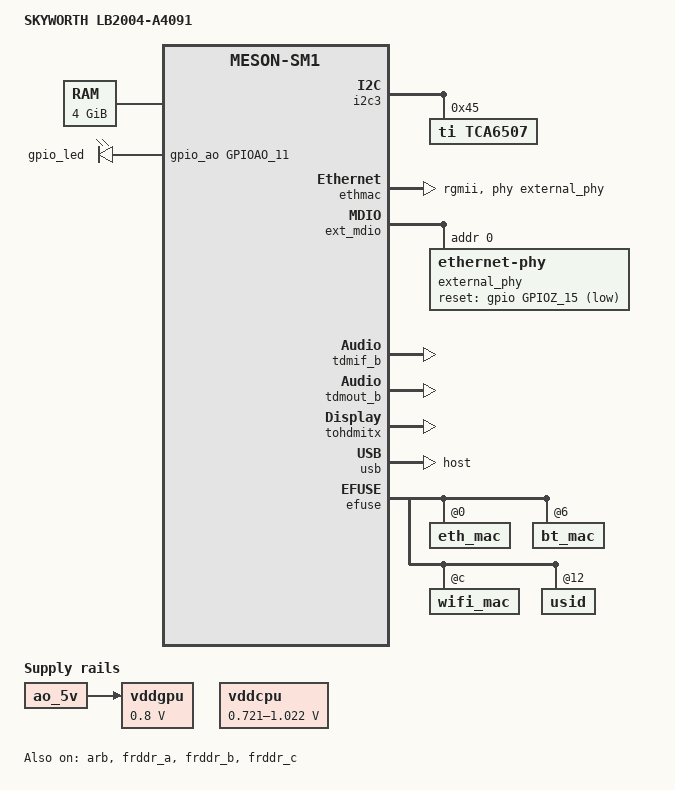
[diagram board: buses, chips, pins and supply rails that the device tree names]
// SPDX-License-Identifier: (GPL-2.0+ OR MIT)
/*
 * Copyright (c) 2019 BayLibre SAS. All rights reserved.
 * Copyright (c) 2020 Christian Hewitt <christianshewitt@gmail.com>
 * Copyright (c) 2021 flippy <uniqfreq@gmail.com>
 */

/dts-v1/;

#include "meson-sm1-ac2xx.dtsi"
#include <dt-bindings/leds/common.h>
#include <dt-bindings/sound/meson-g12a-tohdmitx.h>

/ {
	compatible = "skyworth,lb2004", "amlogic,s905x3", "amlogic,sm1";
	model = "SKYWORTH LB2004-A4091";

	memory@0 {
		device_type = "memory";
		reg = <0x0 0x0 0x0 0xFFFFFFFF>;
	};

	leds {
		compatible = "gpio-leds";

		/* Mainline u-boot lacks TCA6507 driver. Currently only using bootloader, TCA6507 LEDs works. */
		gpio_led {
			label = "gpio_led";
			gpios = <&gpio_ao GPIOAO_11 GPIO_ACTIVE_HIGH>;
			linux,default-trigger = "default-on";
		};
	};

	sound {
		compatible = "amlogic,axg-sound-card";
		model = "LB2004-A4091";
		audio-aux-devs = <&tdmout_b>;
		audio-routing = "TDMOUT_B IN 0", "FRDDR_A OUT 1",
				"TDMOUT_B IN 1", "FRDDR_B OUT 1",
				"TDMOUT_B IN 2", "FRDDR_C OUT 1",
				"TDM_B Playback", "TDMOUT_B OUT";

		assigned-clocks = <&clkc CLKID_MPLL2>,
				  <&clkc CLKID_MPLL0>,
				  <&clkc CLKID_MPLL1>;
		assigned-clock-parents = <0>, <0>, <0>;
		assigned-clock-rates = <294912000>,
				       <270950400>,
				       <393216000>;
		status = "okay";

		dai-link-0 {
			sound-dai = <&frddr_a>;
		};

		dai-link-1 {
			sound-dai = <&frddr_b>;
		};

		dai-link-2 {
			sound-dai = <&frddr_c>;
		};

		/* 8ch hdmi interface */
		dai-link-3 {
			sound-dai = <&tdmif_b>;
			dai-format = "i2s";
			dai-tdm-slot-tx-mask-0 = <1 1>;
			dai-tdm-slot-tx-mask-1 = <1 1>;
			dai-tdm-slot-tx-mask-2 = <1 1>;
			dai-tdm-slot-tx-mask-3 = <1 1>;
			mclk-fs = <256>;

			codec {
				sound-dai = <&tohdmitx TOHDMITX_I2S_IN_B>;
			};
		};

		/* hdmi glue */
		dai-link-4 {
			sound-dai = <&tohdmitx TOHDMITX_I2S_OUT>;

			codec {
				sound-dai = <&hdmi_tx>;
			};
		};
	};

	vddgpu: regulator-vddgpu {
		compatible = "regulator-fixed";
		regulator-name = "mali";
		regulator-min-microvolt = <800000>;
		regulator-max-microvolt = <800000>;
		vin-supply = <&ao_5v>;
		regulator-always-on;
	};
};

&i2c3 {
	status = "okay";

	/* Mainline u-boot lacks TCA6507 driver. Currently only using bootloader, TCA6507 LEDs works. */
	tca6507@45 {
		compatible = "ti,tca6507", "leds,tca6507";
		reg = <0x45>;
		status = "okay";
		#address-cells = <1>;
		#size-cells = <0>;
		gpio-controller;
		#gpio-cells = <2>;

		led@red {
			reg = <0x00>;
			linux,default-trigger = "heartbeat";
		};

		led@green {
			reg = <0x01>;
			linux,default-trigger = "heartbeat";
		};

		led@blue {
			reg = <0x02>;
			linux,default-trigger = "none";
		};
	};
};

&vddcpu {
	regulator-min-microvolt = <721000>;
	regulator-max-microvolt = <1022000>;
	pwms = <&pwm_AO_cd 1 1250 0>;
};

&arb {
	status = "okay";
};

&clkc_audio {
	status = "okay";
};

&ethmac {
	status = "okay";

	pinctrl-0 = <&eth_pins>, <&eth_rgmii_pins>;
	pinctrl-names = "default";
	phy-handle = <&external_phy>;

	phy-mode = "rgmii";
	amlogic,tx-delay-ns = <2>;

	snps,aal;
	snps,rxpbl = <0x8>;
	snps,txpbl = <0x8>;

	rx-fifo-depth = <4096>;
	tx-fifo-depth = <4096>;

	nvmem-cells = <&eth_mac>;
	nvmem-cell-names = "eth_mac";
};

&ext_mdio {
	external_phy: ethernet-phy@0 {
		/* 
		 * Realtek RTL8211F (0x001cc916) 
		 * JLSemi JL2101 (0x937c4032)
		 */
		reg = <0>;
		max-speed = <1000>;

		reset-assert-us = <30000>;
		reset-deassert-us = <80000>;
		reset-gpios = <&gpio GPIOZ_15 (GPIO_ACTIVE_LOW | GPIO_OPEN_DRAIN)>;

		interrupt-parent = <&gpio_intc>;
		/* MAC_INTR on GPIOZ_14 */
		interrupts = <26 IRQ_TYPE_LEVEL_LOW>;
	};
};

&frddr_a {
	status = "okay";
};

&frddr_b {
	status = "okay";
};

&frddr_c {
	status = "okay";
};

&ir {
	status = "disabled";
};

&tdmif_b {
	status = "okay";
};

&tdmout_b {
	status = "okay";
};

&tohdmitx {
	status = "okay";
};

&uart_A {
	status = "disabled";
	pinctrl-0 = <&uart_a_pins>, <&uart_a_cts_rts_pins>;
	pinctrl-names = "default";
	uart-has-rtscts;

	bluetooth: bluetooth {
		compatible = "realtek,rtl8822cs-bt";
		interrupt-parent = <&gpio_intc>;
		interrupts = <95 IRQ_TYPE_LEVEL_HIGH>;
		interrupt-names = "host-wakeup";
		shutdown-gpios = <&gpio GPIOX_17 GPIO_ACTIVE_HIGH>;
		max-speed = <2000000>;
		clocks = <&wifi32k>;
		clock-names = "lpo";
		vbat-supply = <&vddao_3v3>;
		vddio-supply = <&vddio_ao1v8>;
		status = "disabled";
	};
};

&mali {
	mali-supply=<&vddgpu>;
};

&usb {
	dr_mode = "host";
};

/* SDIO */
&sd_emmc_a {
	sd-uhs-sdr12;
	sd-uhs-sdr25;
	sd-uhs-ddr50;
	sd-uhs-sdr50;
	sd-uhs-sdr104;
	max-frequency = <208000000>;
};

/* SD card */
&sd_emmc_b {
	status = "disabled";
};

/* eMMC */
&sd_emmc_c {
	mmc-sdr-1_8v;
	max-frequency = <200000000>;
};

&cpu_opp_table {
	opp-2016000000 {
		opp-hz = /bits/ 64 <2016000000>;
		opp-microvolt = <1000000>;
	};
};

&efuse {
	eth_mac: eth_mac@0 {
		reg = <0x0 0x06>;
	};

	bt_mac: bt_mac@6 {
		reg = <0x6 0x06>;
	};

	wifi_mac: wifi_mac@12 {
		reg = <0x0c 0x06>;
	};

	usid: usid@18 {
		reg = <0x12 0x10>;
	};
};
